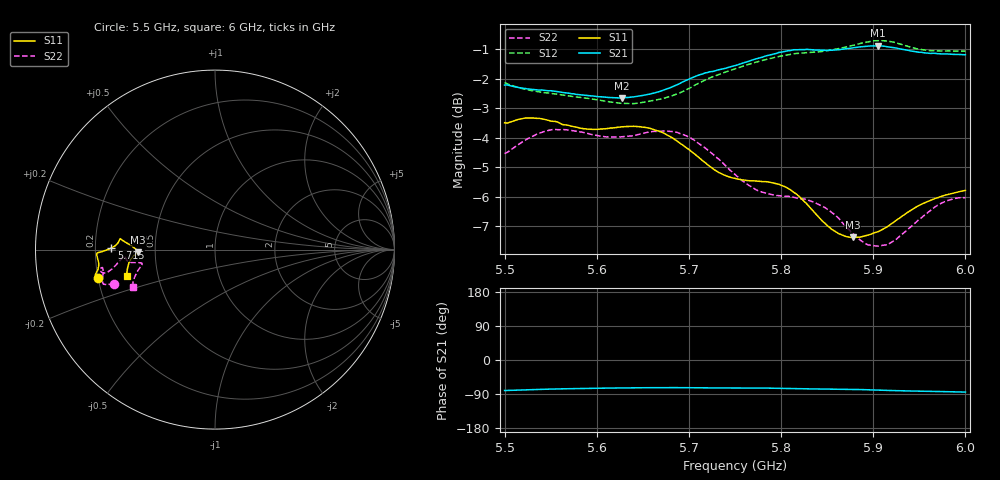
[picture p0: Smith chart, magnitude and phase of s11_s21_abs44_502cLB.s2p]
! MS46122B
! 1919307/90821646
! 5/20/2022 12:35:52 PM
! C:\USERS\PC_\DESKTOP\CARACTERIZACION\MEDICIONES\BANCHA ESTRECHA\55_6GHZ\S11_S21_ABS44_502CL.S2P
! CHANNEL.1
! TR.MEASUREMENT
! CORRECTED.DATA
# GHZ S RI R 50.0
! FREQ.GHZ  S11RE  S11IM  S21RE  S21IM  S12RE  S12IM  S22RE  S22IM
!; PortSelection: Port_12
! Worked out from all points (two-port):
!   201 points, 5.5 GHz to 6 GHz, reference 50 ohm
!   highest |S21| = -0.87 dB at 5.905 GHz (marker M1); lowest = -2.6 dB at 5.628 GHz (marker M2)
!   |S21| within 3 dB of the highest: start of sweep to end of sweep
!   lowest |S11| = -7.4 dB at 5.878 GHz (marker M3), VSWR 2.50, Z = 20 - j0.695 ohm
!   |S11| at or under -10 dB: nowhere
!   |S22| runs from -7.7 to -3.7 dB; largest |S21 - S12| = 0.035
!   S11 on the Smith chart (normalised r, x): 5.5 GHz: 0.20, -0.11; 5.715 GHz: 0.27, +0.01; 6 GHz: 0.33, -0.13
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5.5  -0.6513 -0.1558  0.1284 -0.7649  0.1118 -0.7753  -0.5612 -0.1934
5.5225  -0.6659 -0.1472  0.1481 -0.7508  0.1298 -0.7519  -0.5949 -0.1931
5.5475  -0.6628 -0.1323  0.1707 -0.7391  0.1544 -0.7359  -0.6209 -0.1925
5.585  -0.648 -0.0914  0.1904 -0.7211  0.1758 -0.7166  -0.6265 -0.153
5.6275  -0.658 -0.0369  0.2076 -0.7079  0.193 -0.6959  -0.6255 -0.1036
5.64  -0.6598 -0.0266  0.2115 -0.7099  0.1989 -0.6935  -0.6289 -0.0997
5.6675  -0.6478 -0.016  0.2221 -0.7224  0.2153 -0.7011  -0.6375 -0.1123
5.685  -0.6266 -0.0103  0.2274 -0.7396  0.2262 -0.7121  -0.6342 -0.1249
5.715  -0.5771 0.00918  0.2325 -0.7761  0.2443 -0.7487  -0.5979 -0.125
5.75  -0.5371 0.0438  0.2329 -0.8035  0.2481 -0.7881  -0.5422 -0.0745
5.7725  -0.5302 0.0584  0.2396 -0.8249  0.252 -0.8099  -0.514 -0.045
5.7875  -0.5275 0.0608  0.2352 -0.8396  0.2504 -0.8227  -0.5055 -0.0365
5.81  -0.5131 0.05  0.2255 -0.8584  0.244 -0.8398  -0.5 -0.0446
5.835  -0.4731 0.0265  0.2111 -0.8642  0.2379 -0.8493  -0.4872 -0.0638
5.855  -0.4418 0.0032  0.2006 -0.8658  0.2347 -0.8585  -0.4661 -0.0718
5.8775  -0.4278 -0.0142  0.1944 -0.8757  0.2258 -0.8767  -0.4291 -0.072
5.89  -0.4299 -0.0165  0.183 -0.883  0.2168 -0.8891  -0.413 -0.0735
5.905  -0.437 -0.0203  0.1636 -0.8893  0.1898 -0.9034  -0.4065 -0.0767
5.9175  -0.4478 -0.0301  0.1498 -0.8872  0.1654 -0.9047  -0.4087 -0.0875
5.945  -0.4756 -0.0659  0.1225 -0.8754  0.1274 -0.8863  -0.4347 -0.1249
5.97  -0.4879 -0.1079  0.1048 -0.8703  0.1095 -0.8793  -0.4544 -0.1707
6  -0.493 -0.146  0.081 -0.869  0.087 -0.881  -0.4548 -0.2071
